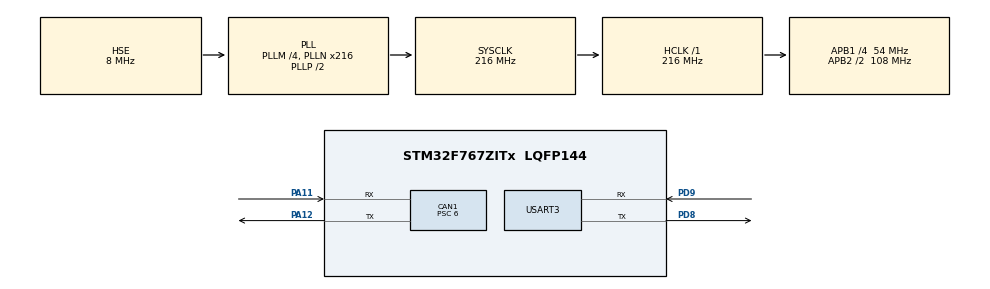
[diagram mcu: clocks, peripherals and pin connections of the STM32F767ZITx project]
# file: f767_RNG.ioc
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CAN1.BS1=CAN_BS1_15TQ
CAN1.BS2=CAN_BS2_2TQ
CAN1.CalculateBaudRate=500000
CAN1.CalculateTimeBit=2000
CAN1.CalculateTimeQuantum=111.11111111111111
CAN1.Prescaler=6
Mcu.Family=STM32F7
Mcu.Name=STM32F767ZITx
Mcu.Package=LQFP144
NVIC.CAN1_RX0_IRQn=true\:0\:0\:false\:false\:true\:true\:true\:true
NVIC.HASH_RNG_IRQn=true\:0\:0\:false\:false\:true\:true\:true\:true
NVIC.PriorityGroup=NVIC_PRIORITYGROUP_4
PA11.Mode=CAN_Activate
PA11.Signal=CAN1_RX
PA12.Mode=CAN_Activate
PA12.Signal=CAN1_TX
PD8.Mode=Asynchronous
PD8.Signal=USART3_TX
PD9.Mode=Asynchronous
PD9.Signal=USART3_RX
PH0/OSC_IN.Mode=HSE-External-Oscillator
PH0/OSC_IN.Signal=RCC_OSC_IN
PH1/OSC_OUT.Mode=HSE-External-Oscillator
PH1/OSC_OUT.Signal=RCC_OSC_OUT
ProjectManager.HeapSize=0x200
ProjectManager.StackSize=0x400
ProjectManager.TargetToolchain=STM32CubeIDE
RCC.48MHZClocksFreq_Value=24000000
RCC.AHBFreq_Value=216000000
RCC.APB1CLKDivider=RCC_HCLK_DIV4
RCC.APB1Freq_Value=54000000
RCC.APB1TimFreq_Value=108000000
RCC.APB2CLKDivider=RCC_HCLK_DIV2
RCC.APB2Freq_Value=108000000
RCC.APB2TimFreq_Value=216000000
RCC.CortexFreq_Value=216000000
RCC.HCLKFreq_Value=216000000
RCC.HSE_VALUE=8000000
RCC.HSI_VALUE=16000000
RCC.LSE_VALUE=32768
RCC.PLLM=4
RCC.PLLMUL=RCC_PLL_MUL9
RCC.PLLN=216
RCC.PLLQ=9
RCC.PLLSourceVirtual=RCC_PLLSOURCE_HSE
RCC.PRESCALERUSB=RCC_USBCLKSOURCE_PLL_DIV1_5
RCC.SYSCLKFreq_VALUE=216000000
RCC.SYSCLKSource=RCC_SYSCLKSOURCE_PLLCLK
RCC.SYSCLKSourceVirtual=RCC_SYSCLKSOURCE_PLLCLK
RCC.USBFreq_Value=48000000
RCC.VCOOutputFreq_Value=432000000
USART3.VirtualMode-Asynchronous=VM_ASYNC
VP_RNG_VS_RNG.Mode=RNG_Activate
board=NUCLEO-F767ZI

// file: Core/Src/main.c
/* USER CODE BEGIN Header */
/**
  ******************************************************************************
  * @file           : main.c
  * @brief          : Main program body
  ******************************************************************************
  * @attention
  *
  * Copyright (c) 2026 STMicroelectronics.
  * All rights reserved.
  *
  * This software is licensed under terms that can be found in the LICENSE file
  * in the root directory of this software component.
  * If no LICENSE file comes with this software, it is provided AS-IS.
  *
  ******************************************************************************
  */
/* USER CODE END Header */
#include "main.h"

/* USER CODE BEGIN Includes */

#include "implementation.h"

/* USER CODE END Includes */

/* USER CODE BEGIN PD */
#define	key128_BlockSize	4
#define	key192_BlockSize	6
#define	key256_BlockSize	8
/* USER CODE END PD */

CAN_HandleTypeDef hcan1;

RNG_HandleTypeDef hrng;

UART_HandleTypeDef huart3;

/* USER CODE BEGIN PV */
char buff[500];

uint32_t rngData = 0;

uint8_t key128[16] = {0};
uint8_t key192[24] = {0};
uint8_t key256[32] = {0};

uint32_t tempkey[8] = {0};

uint32_t start = 0, end = 0, totaltime = 0;

CAN_RxHeaderTypeDef canRx;
CAN_TxHeaderTypeDef canTx;

uint32_t mailbox = 0;

uint8_t rxData[8] = {0};
uint8_t txData[8] = {0};

extern uint8_t IV[];

uint8_t masterKey128[16] = {
		0x2b, 0x7e, 0x15, 0x16,
	    0x28, 0xae, 0xd2, 0xa6,
	    0xab, 0xf7, 0x15, 0x88,
	    0x09, 0xcf, 0x4f, 0x3c
};

uint8_t fulltext128[] =
{
  0x6b, 0xc1, 0xbe, 0xe2, 0x2e, 0x40, 0x9f, 0x96, 0xe9, 0x3d, 0x7e, 0x11, 0x73, 0x93, 0x17, 0x2a,
  0xae, 0x2d, 0x8a, 0x57, 0x1e, 0x03, 0xac, 0x9c, 0x9e, 0xb7, 0x6f, 0xac, 0x45, 0xaf, 0x8e, 0x51,
  0x30, 0xc8, 0x1c, 0x46, 0xa3, 0x5c, 0xe4, 0x11, 0xe5, 0xfb, 0xc1, 0x19, 0x1a, 0x0a, 0x52, 0xef,
  0xf6, 0x9f, 0x24, 0x45, 0xdf, 0x4f, 0x9b, 0x17, 0xad, 0x2b, 0x41, 0x7b, 0xe6, 0x6c, 0x37, 0x10
};

uint8_t CBCEncryptData128[64]={0};

size_t CBCEncryptData128Size=0;
bool ackReady = false;
/* USER CODE END PV */

void SystemClock_Config(void);
static void MX_GPIO_Init(void);
static void MX_USART3_UART_Init(void);
static void MX_RNG_Init(void);
static void MX_CAN1_Init(void);
/* USER CODE BEGIN PFP */

void CANTransmit(CAN_TxHeaderTypeDef* tx, uint8_t* data);

/* USER CODE END PFP */

/* USER CODE BEGIN 0 */
void keyGenerator(uint8_t keyBlockSize, uint8_t* key){

	for(uint8_t i = 0; i < keyBlockSize; i++)	tempkey[i] = HAL_RNG_GetRandomNumber(&hrng);

	for(uint8_t i = 0; i < keyBlockSize; i++){

		key[4 * i + 0 ] = (uint8_t) ((tempkey[i] >> 24 ) & 0xFF);
		key[4 * i + 1 ] = (uint8_t) ((tempkey[i] >> 16 ) & 0xFF);
		key[4 * i + 2 ] = (uint8_t) ((tempkey[i] >> 8  ) & 0xFF);
		key[4 * i + 3 ] = (uint8_t) ( tempkey[i]         & 0xFF);

	}

	for(uint8_t i = 1; i <= keyBlockSize * 4; i++){

		sprintf(buff, "0x%02X ", key[i-1]);
		HAL_UART_Transmit(&huart3, (uint8_t *)buff, strlen(buff), HAL_MAX_DELAY);

		if(i % 4 == 0 ){
			sprintf(buff, "\r\n");
			HAL_UART_Transmit(&huart3, (uint8_t *)buff, strlen(buff), HAL_MAX_DELAY);
		}

	}

}

void printText(char* text){
	  sprintf(buff, "%s", text);
	  HAL_UART_Transmit(&huart3, (uint8_t *)buff, strlen(buff), HAL_MAX_DELAY);
}

void CANHandshake(){

	canTx.IDE = CAN_ID_EXT;
	canTx.ExtId = 0x10; // For Handshake !
	canTx.DLC = 8;

	for(uint8_t i = 0; i < 8; i++)	txData[i] = 0x01;

	CANTransmit(&canTx, txData);
}

void CANSendIV(){

	uint8_t itr = 0;

	canTx.IDE = CAN_ID_EXT;
	canTx.ExtId = 0x11; // 0x11 for iv[0-7], 0x12 for iv[8-15]
	canTx.DLC = 8;

	for(uint8_t i = 0; i < 2; i ++){

		for(uint8_t j = 0; j < 8; j ++) txData[j] = IV[itr++];

		CANTransmit(&canTx, txData);

		canTx.ExtId += 0x01;

	}

}

void CANSendDatasize(){

	uint16_t length = sizeof(fulltext128);

	canTx.IDE = CAN_ID_EXT;
	canTx.ExtId = 0x13;
	canTx.DLC = 8;

	txData[0] = length >> 8;
	txData[1] = length & 0xFF;

	CANTransmit(&canTx, txData);

}

void CanTransmitEncryptedData(){

	uint8_t itr = 0;

	canTx.IDE = CAN_ID_EXT;
	canTx.ExtId = 0x14; //0x14 - 0x1B
	canTx.DLC = 8;

	for(uint8_t i = 0 ; i < 8; i++){

		for(uint8_t j = 0 ; j < 8; j++)	txData[j] = CBCEncryptData128[itr++];

		CANTransmit(&canTx, txData);

		canTx.ExtId++;
	}

}

/* USER CODE END 0 */

int main(void)
{

  /* MCU Configuration--------------------------------------------------------*/

  /* Reset of all peripherals, Initializes the Flash interface and the Systick. */
  HAL_Init();

  /* Configure the system clock */
  SystemClock_Config();

  /* Initialize all configured peripherals */
  MX_GPIO_Init();
  MX_USART3_UART_Init();
  MX_RNG_Init();
  MX_CAN1_Init();
  /* USER CODE BEGIN 2 */

  filter_config();
//  printText("Key128 \r\n");
//  keyGenerator(key128_BlockSize, key128);

//  printText("Key192 \r\n");
//  keyGenerator(key192_BlockSize, key192);
//
//  printText("Key256 \r\n");
//  keyGenerator(key256_BlockSize, key256);

  HAL_CAN_Start(&hcan1);

  HAL_CAN_ActivateNotification(&hcan1, CAN_IT_RX_FIFO0_MSG_PENDING);

  CANHandshake();

  while(ackReady != true);

  CANSendIV();

  CANSendDatasize();

  if(AES128_Encrypt(AES_CBC_ENC, fulltext128, sizeof(fulltext128), masterKey128, IV, CBCEncryptData128, &CBCEncryptData128Size) != success)    printf("\nAES128 CBC Cipher Encrypt Failed\n");
  else    printf("\nAES128 CBC Cipher Encrypt Success\n");

  CanTransmitEncryptedData();

  /* USER CODE END 2 */

  /* Infinite loop */
  while (1)
  {

  }
}

void SystemClock_Config(void)
{
  RCC_OscInitTypeDef RCC_OscInitStruct = {0};
  RCC_ClkInitTypeDef RCC_ClkInitStruct = {0};

  /** Configure the main internal regulator output voltage
  */
  __HAL_RCC_PWR_CLK_ENABLE();
  __HAL_PWR_VOLTAGESCALING_CONFIG(PWR_REGULATOR_VOLTAGE_SCALE1);

  /** Initializes the RCC Oscillators according to the specified parameters
  * in the RCC_OscInitTypeDef structure.
  */
  RCC_OscInitStruct.OscillatorType = RCC_OSCILLATORTYPE_HSE;
  RCC_OscInitStruct.HSEState = RCC_HSE_ON;
  RCC_OscInitStruct.PLL.PLLState = RCC_PLL_ON;
  RCC_OscInitStruct.PLL.PLLSource = RCC_PLLSOURCE_HSE;
  RCC_OscInitStruct.PLL.PLLM = 4;
  RCC_OscInitStruct.PLL.PLLN = 216;
  RCC_OscInitStruct.PLL.PLLP = RCC_PLLP_DIV2;
  RCC_OscInitStruct.PLL.PLLQ = 9;
  RCC_OscInitStruct.PLL.PLLR = 2;
  if (HAL_RCC_OscConfig(&RCC_OscInitStruct) != HAL_OK)
  {
    Error_Handler();
  }

  /** Activate the Over-Drive mode
  */
  if (HAL_PWREx_EnableOverDrive() != HAL_OK)
  {
    Error_Handler();
  }

  /** Initializes the CPU, AHB and APB buses clocks
  */
  RCC_ClkInitStruct.ClockType = RCC_CLOCKTYPE_HCLK|RCC_CLOCKTYPE_SYSCLK
                              |RCC_CLOCKTYPE_PCLK1|RCC_CLOCKTYPE_PCLK2;
  RCC_ClkInitStruct.SYSCLKSource = RCC_SYSCLKSOURCE_PLLCLK;
  RCC_ClkInitStruct.AHBCLKDivider = RCC_SYSCLK_DIV1;
  RCC_ClkInitStruct.APB1CLKDivider = RCC_HCLK_DIV4;
  RCC_ClkInitStruct.APB2CLKDivider = RCC_HCLK_DIV2;

  if (HAL_RCC_ClockConfig(&RCC_ClkInitStruct, FLASH_LATENCY_7) != HAL_OK)
  {
    Error_Handler();
  }
}

static void MX_CAN1_Init(void)
{

  hcan1.Instance = CAN1;
  hcan1.Init.Prescaler = 6;
  hcan1.Init.Mode = CAN_MODE_NORMAL;
  hcan1.Init.SyncJumpWidth = CAN_SJW_1TQ;
  hcan1.Init.TimeSeg1 = CAN_BS1_15TQ;
  hcan1.Init.TimeSeg2 = CAN_BS2_2TQ;
  hcan1.Init.TimeTriggeredMode = DISABLE;
  hcan1.Init.AutoBusOff = DISABLE;
  hcan1.Init.AutoWakeUp = DISABLE;
  hcan1.Init.AutoRetransmission = DISABLE;
  hcan1.Init.ReceiveFifoLocked = DISABLE;
  hcan1.Init.TransmitFifoPriority = DISABLE;
  if (HAL_CAN_Init(&hcan1) != HAL_OK)
  {
    Error_Handler();
  }

}

static void MX_RNG_Init(void)
{

  hrng.Instance = RNG;
  if (HAL_RNG_Init(&hrng) != HAL_OK)
  {
    Error_Handler();
  }

}

static void MX_USART3_UART_Init(void)
{

  huart3.Instance = USART3;
  huart3.Init.BaudRate = 115200;
  huart3.Init.WordLength = UART_WORDLENGTH_8B;
  huart3.Init.StopBits = UART_STOPBITS_1;
  huart3.Init.Parity = UART_PARITY_NONE;
  huart3.Init.Mode = UART_MODE_TX_RX;
  huart3.Init.HwFlowCtl = UART_HWCONTROL_NONE;
  huart3.Init.OverSampling = UART_OVERSAMPLING_16;
  huart3.Init.OneBitSampling = UART_ONE_BIT_SAMPLE_DISABLE;
  huart3.AdvancedInit.AdvFeatureInit = UART_ADVFEATURE_NO_INIT;
  if (HAL_UART_Init(&huart3) != HAL_OK)
  {
    Error_Handler();
  }

}

static void MX_GPIO_Init(void)
{

  /* GPIO Ports Clock Enable */
  __HAL_RCC_GPIOH_CLK_ENABLE();
  __HAL_RCC_GPIOD_CLK_ENABLE();
  __HAL_RCC_GPIOA_CLK_ENABLE();

}

/* USER CODE BEGIN 4 */

void CANTransmit(CAN_TxHeaderTypeDef* tx, uint8_t* data){

	if(HAL_CAN_AddTxMessage(&hcan1, tx, data, &mailbox) != HAL_OK){
		Error_Handler();
	}

}

void HAL_CAN_RxFifo0MsgPendingCallback(CAN_HandleTypeDef *hcan){

	if(HAL_CAN_GetRxMessage(&hcan1, CAN_RX_FIFO0, &canRx, rxData) != HAL_OK){
		Error_Handler();
	}

	if(canRx.ExtId == 0x01){
		ackReady = true;
	}

}
/* USER CODE END 4 */

void Error_Handler(void)
{
  __disable_irq();
  while (1)
  {
  }
}
